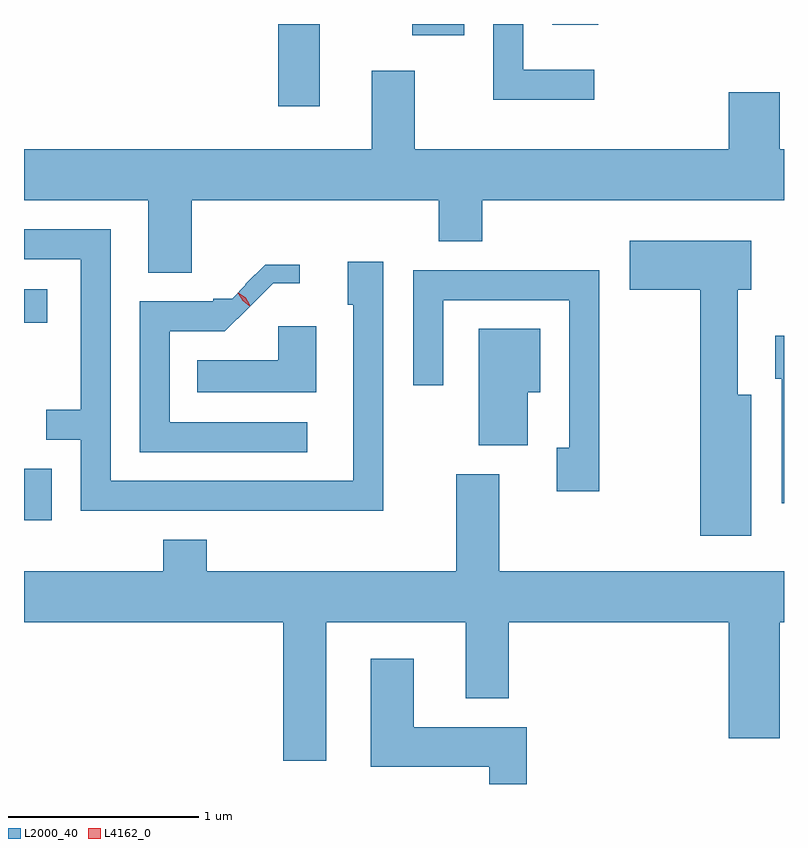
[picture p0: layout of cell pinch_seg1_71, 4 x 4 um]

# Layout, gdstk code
import gdstk
lib = gdstk.Library(unit=1e-6, precision=1e-09)
def R(c, l, rs):  # rectangles x0, y0, x1, y1
    for r in rs: c.add(gdstk.rectangle(r[:2], r[2:], *l))
def P(c, l, *ps):  # polygons
    for p in ps: c.add(gdstk.Polygon(p, *l))
L2000_40 = (2000, 40)
L4162_0 = (4162, 0)

pinch_seg1_71 = lib.new_cell('pinch_seg1_71')
R(pinch_seg1_71, L2000_40, [(211.367,889.013,211.514,889.284), (211.367,890.051,211.489,890.229), (212.706,891.191,212.924,891.624), (213.411,891.566,213.684,891.624), (214.146,891.621,214.389,891.624)])
P(pinch_seg1_71, L2000_40, [(214.368,891.384),(213.994,891.384),(213.994,891.624),(213.836,891.624),(213.836,891.226),(214.368,891.226)],
  [(212.249,890.696),(213.551,890.696),(213.551,890.481),(213.779,890.481),(213.779,890.696),(215.367,890.696),(215.367,890.964),(215.344,890.964),(215.344,891.264),(215.076,891.264),(215.076,890.964),(213.424,890.964),(213.424,891.379),(213.196,891.379),(213.196,890.964),(211.367,890.964),(211.367,890.696),(212.021,890.696),(212.021,890.316),(212.249,890.316)],
  [(213.259,890.374),(213.071,890.374),(213.071,890.146),(213.101,890.146),(213.101,889.219),(211.824,889.219),(211.824,890.544),(211.367,890.544),(211.367,890.386),(211.666,890.386),(211.666,889.594),(211.483,889.594),(211.483,889.436),(211.666,889.436),(211.666,889.061),(213.259,889.061)],
  [(215.194,889.674),(215.124,889.674),(215.124,890.226),(215.194,890.226),(215.194,890.484),(214.556,890.484),(214.556,890.226),(214.926,890.226),(214.926,888.931),(215.194,888.931)],
  [(212.858,889.529),(212.134,889.529),(212.134,890.006),(212.423,890.006),(212.492,890.075),(212.493,890.074),(212.679,890.26),(212.818,890.26),(212.818,890.358),(212.636,890.358),(212.532,890.254),(212.535,890.251),(212.462,890.178),(212.363,890.178),(212.363,890.164),(211.976,890.164),(211.976,889.371),(212.858,889.371)],
  [(214.394,890.329),(213.416,890.329),(213.416,889.723),(213.574,889.723),(213.574,890.171),(214.236,890.171),(214.236,889.394),(214.171,889.394),(214.171,889.166),(214.394,889.166)],
  [(212.904,890.034),(212.706,890.034),(212.706,889.854),(212.278,889.854),(212.278,889.686),(212.904,889.686)],
  [(214.019,889.686),(214.084,889.686),(214.084,890.019),(213.761,890.019),(213.761,889.406),(214.019,889.406)],
  [(215.367,889.984),(215.321,889.984),(215.321,889.756),(215.356,889.756),(215.356,889.101),(215.367,889.101)],
  [(212.959,888.476),(213.691,888.476),(213.691,888.076),(213.919,888.076),(213.919,888.476),(215.076,888.476),(215.076,887.866),(215.344,887.866),(215.344,888.476),(215.367,888.476),(215.367,888.744),(213.869,888.744),(213.869,889.254),(213.641,889.254),(213.641,888.744),(212.329,888.744),(212.329,888.909),(212.101,888.909),(212.101,888.744),(211.367,888.744),(211.367,888.476),(212.731,888.476),(212.731,887.746),(212.959,887.746)],
  [(214.014,887.924),(213.419,887.924),(213.419,888.284),(213.191,888.284),(213.191,887.716),(213.816,887.716),(213.816,887.624),(214.014,887.624)])
P(pinch_seg1_71, L4162_0, [(212.555,890.139),(212.517,890.167),(212.493,890.209),(212.493,890.21),(212.494,890.21),(212.532,890.181),(212.556,890.14),(212.556,890.139)],
  [(212.554,890.145),(212.519,890.169),(212.498,890.206),(212.498,890.206),(212.499,890.206),(212.534,890.183),(212.555,890.146),(212.555,890.145)])

lib.write_gds('pinch_seg1_71.gds')
